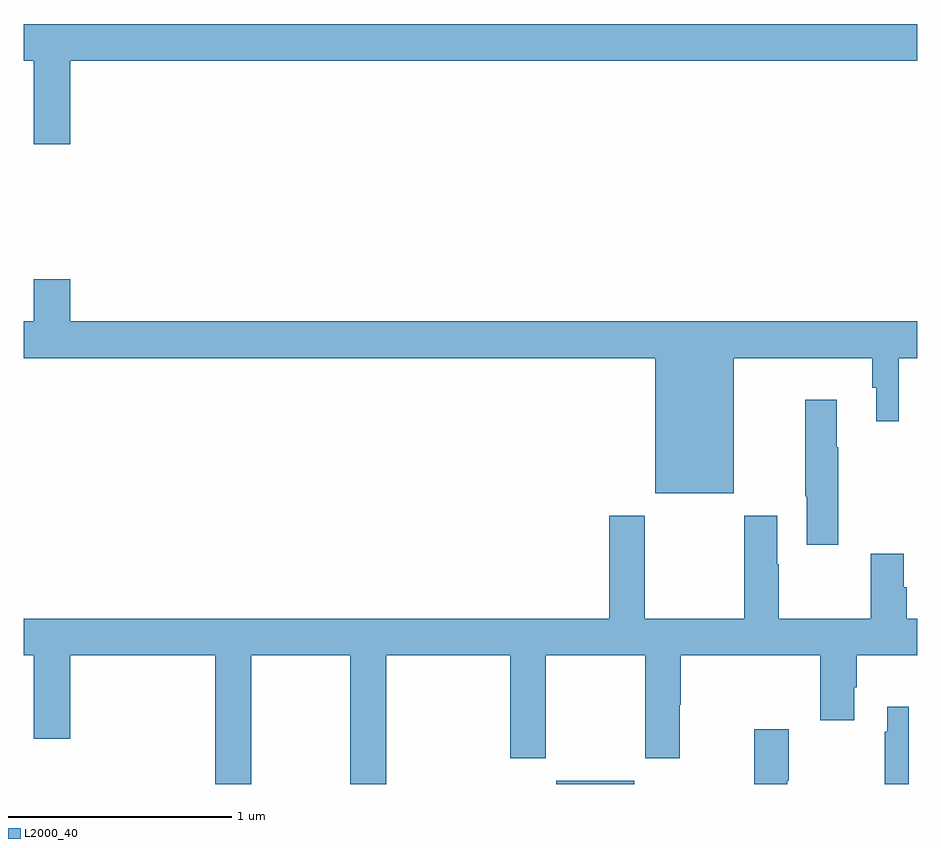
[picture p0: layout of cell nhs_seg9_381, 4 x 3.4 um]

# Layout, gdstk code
import gdstk
lib = gdstk.Library(unit=1e-6, precision=1e-09)
def R(c, l, rs):  # rectangles x0, y0, x1, y1
    for r in rs: c.add(gdstk.rectangle(r[:2], r[2:], *l))
def P(c, l, *ps):  # polygons
    for p in ps: c.add(gdstk.Polygon(p, *l))
L2000_40 = (2000, 40)

nhs_seg9_381 = lib.new_cell('nhs_seg9_381')
R(nhs_seg9_381, L2000_40, [(131.384,1206.5,131.734,1206.514)])
P(nhs_seg9_381, L2000_40, [(129.208,1209.74),(133,1209.74),(133,1209.904),(129,1209.904),(129,1209.74),(129.044,1209.74),(129.044,1209.366),(129.208,1209.366)],
  [(132.178,1208.408),(132.799,1208.408),(132.799,1208.274),(132.818,1208.274),(132.818,1208.124),(132.917,1208.124),(132.917,1208.408),(133,1208.408),(133,1208.572),(129.208,1208.572),(129.208,1208.761),(129.044,1208.761),(129.044,1208.572),(129,1208.572),(129,1208.408),(131.828,1208.408),(131.828,1207.802),(132.178,1207.802)],
  [(132.648,1208.008),(132.64,1208.008),(132.64,1208.221),(132.499,1208.221),(132.499,1207.789),(132.506,1207.789),(132.506,1207.572),(132.648,1207.572)],
  [(130.017,1207.076),(130.462,1207.076),(130.462,1206.5),(130.622,1206.5),(130.622,1207.076),(131.177,1207.076),(131.177,1206.615),(131.337,1206.615),(131.337,1207.076),(131.782,1207.076),(131.782,1206.615),(131.937,1206.615),(131.937,1206.854),(131.942,1206.854),(131.942,1207.076),(132.566,1207.076),(132.566,1206.786),(132.718,1206.786),(132.718,1206.934),(132.731,1206.934),(132.731,1207.076),(133,1207.076),(133,1207.24),(132.953,1207.24),(132.953,1207.382),(132.94,1207.382),(132.94,1207.531),(132.793,1207.531),(132.793,1207.24),(132.381,1207.24),(132.381,1207.484),(132.373,1207.484),(132.373,1207.702),(132.226,1207.702),(132.226,1207.24),(131.781,1207.24),(131.781,1207.702),(131.621,1207.702),(131.621,1207.24),(129,1207.24),(129,1207.076),(129.044,1207.076),(129.044,1206.702),(129.208,1206.702),(129.208,1207.076),(129.857,1207.076),(129.857,1206.5),(130.017,1206.5)],
  [(132.963,1206.847),(132.866,1206.847),(132.866,1206.734),(132.855,1206.734),(132.855,1206.5),(132.963,1206.5)],
  [(132.418,1206.514),(132.426,1206.514),(132.426,1206.745),(132.272,1206.745),(132.272,1206.5),(132.418,1206.5)])

lib.write_gds('nhs_seg9_381.gds')
